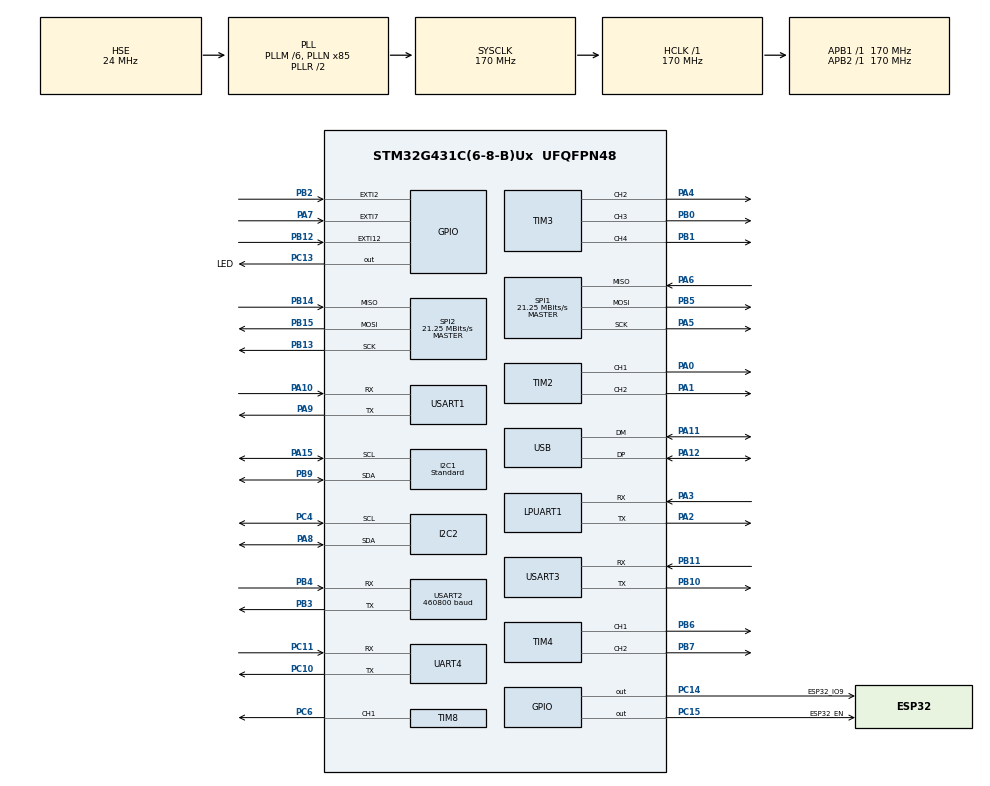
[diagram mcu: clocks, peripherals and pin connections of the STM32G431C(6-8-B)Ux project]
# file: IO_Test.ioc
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I2C1.I2C_Speed_Mode=I2C_Standard
I2C1.Timing=0x40B285C2
I2C2.Timing=0x40B285C2
Mcu.Family=STM32G4
Mcu.Name=STM32G431C(6-8-B)Ux
Mcu.Package=UFQFPN48
NVIC.PriorityGroup=NVIC_PRIORITYGROUP_4
NVIC.UART4_IRQn=true\:0\:0\:false\:false\:true\:true\:true\:true
NVIC.USART2_IRQn=true\:0\:0\:false\:false\:true\:true\:true\:true
NVIC.USART3_IRQn=true\:0\:0\:false\:false\:true\:true\:true\:true
NVIC.USB_LP_IRQn=true\:0\:0\:false\:false\:true\:false\:true\:true
PA0.Signal=S_TIM2_CH1
PA1.Signal=S_TIM2_CH2
PA10.Mode=Asynchronous
PA10.Signal=USART1_RX
PA11.Mode=Device
PA11.Signal=USB_DM
PA12.Mode=Device
PA12.Signal=USB_DP
PA13.Mode=Serial_Wire
PA13.Signal=SYS_JTMS-SWDIO
PA14.Mode=Serial_Wire
PA14.Signal=SYS_JTCK-SWCLK
PA15.Mode=I2C
PA15.Signal=I2C1_SCL
PA2.Mode=Asynchronous
PA2.Signal=LPUART1_TX
PA3.Mode=Asynchronous
PA3.Signal=LPUART1_RX
PA4.Signal=S_TIM3_CH2
PA5.Mode=Full_Duplex_Master
PA5.Signal=SPI1_SCK
PA6.Mode=Full_Duplex_Master
PA6.Signal=SPI1_MISO
PA7.Signal=GPXTI7
PA8.Mode=I2C
PA8.Signal=I2C2_SDA
PA9.Mode=Asynchronous
PA9.Signal=USART1_TX
PB0.Signal=S_TIM3_CH3
PB1.Signal=S_TIM3_CH4
PB10.Mode=Asynchronous
PB10.Signal=USART3_TX
PB11.Mode=Asynchronous
PB11.Signal=USART3_RX
PB12.Signal=GPXTI12
PB13.Mode=Full_Duplex_Master
PB13.Signal=SPI2_SCK
PB14.Mode=Full_Duplex_Master
PB14.Signal=SPI2_MISO
PB15.Mode=Full_Duplex_Master
PB15.Signal=SPI2_MOSI
PB2.Signal=GPXTI2
PB3.Mode=Asynchronous
PB3.Signal=USART2_TX
PB4.Mode=Asynchronous
PB4.Signal=USART2_RX
PB5.Mode=Full_Duplex_Master
PB5.Signal=SPI1_MOSI
PB6.Signal=S_TIM4_CH1
PB7.Signal=S_TIM4_CH2
PB9.Mode=I2C
PB9.Signal=I2C1_SDA
PC10.Mode=Asynchronous
PC10.Signal=UART4_TX
PC11.Mode=Asynchronous
PC11.Signal=UART4_RX
PC13.GPIO_Label=LED
PC13.Signal=GPIO_Output
PC14-OSC32_IN.GPIO_Label=ESP32_IO9
PC14-OSC32_IN.Signal=GPIO_Output
PC15-OSC32_OUT.GPIO_Label=ESP32_EN
PC15-OSC32_OUT.Signal=GPIO_Output
PC4.Mode=I2C
PC4.Signal=I2C2_SCL
PC6.Signal=S_TIM8_CH1
PF0-OSC_IN.Mode=HSE-External-Oscillator
PF0-OSC_IN.Signal=RCC_OSC_IN
PF1-OSC_OUT.Mode=HSE-External-Oscillator
PF1-OSC_OUT.Signal=RCC_OSC_OUT
ProjectManager.HeapSize=0x200
ProjectManager.StackSize=0x400
ProjectManager.TargetToolchain=MDK-ARM V5.32
RCC.ADC12Freq_Value=170000000
RCC.AHBFreq_Value=170000000
RCC.APB1Freq_Value=170000000
RCC.APB1TimFreq_Value=170000000
RCC.APB2Freq_Value=170000000
RCC.APB2TimFreq_Value=170000000
RCC.CK48CLockSelection=RCC_USBCLKSOURCE_HSI48
RCC.CortexFreq_Value=170000000
RCC.EXTERNAL_CLOCK_VALUE=12288000
RCC.HCLKFreq_Value=170000000
RCC.HSE_VALUE=24000000
RCC.HSI48_VALUE=48000000
RCC.HSI_VALUE=16000000
RCC.LSE_VALUE=32768
RCC.PLLM=RCC_PLLM_DIV6
RCC.PLLN=85
RCC.PLLSourceVirtual=RCC_PLLSOURCE_HSE
RCC.SYSCLKFreq_VALUE=170000000
RCC.SYSCLKSource=RCC_SYSCLKSOURCE_PLLCLK
RCC.USBFreq_Value=48000000
RCC.VCOOutputFreq_Value=340000000
RTC.Date=28
RTC.Hours=23
RTC.Minutes=59
RTC.Month=RTC_MONTH_FEBRUARY
RTC.Seconds=51
RTC.WeekDay=RTC_WEEKDAY_FRIDAY
RTC.Year=25
SH.S_TIM2_CH1.0=TIM2_CH1,PWM Generation1 CH1
SH.S_TIM2_CH2.0=TIM2_CH2,PWM Generation2 CH2
SH.S_TIM3_CH2.0=TIM3_CH2,PWM Generation2 CH2
SH.S_TIM3_CH3.0=TIM3_CH3,PWM Generation3 CH3
SH.S_TIM3_CH4.0=TIM3_CH4,PWM Generation4 CH4
SH.S_TIM4_CH1.0=TIM4_CH1,PWM Generation1 CH1
SH.S_TIM4_CH2.0=TIM4_CH2,PWM Generation2 CH2
SH.S_TIM8_CH1.0=TIM8_CH1,PWM Generation1 CH1
SPI1.BaudRatePrescaler=SPI_BAUDRATEPRESCALER_8
SPI1.CalculateBaudRate=21.25 MBits/s
SPI1.Direction=SPI_DIRECTION_2LINES
SPI1.Mode=SPI_MODE_MASTER
SPI1.VirtualType=VM_MASTER
SPI2.BaudRatePrescaler=SPI_BAUDRATEPRESCALER_8
SPI2.CalculateBaudRate=21.25 MBits/s
SPI2.Direction=SPI_DIRECTION_2LINES
SPI2.Mode=SPI_MODE_MASTER
SPI2.VirtualType=VM_MASTER
TIM2.Channel-PWM\ Generation1\ CH1=TIM_CHANNEL_1
TIM2.Channel-PWM\ Generation2\ CH2=TIM_CHANNEL_2
TIM3.Channel-PWM\ Generation2\ CH2=TIM_CHANNEL_2
TIM3.Channel-PWM\ Generation3\ CH3=TIM_CHANNEL_3
TIM3.Channel-PWM\ Generation4\ CH4=TIM_CHANNEL_4
TIM4.Channel-PWM\ Generation1\ CH1=TIM_CHANNEL_1
TIM4.Channel-PWM\ Generation2\ CH2=TIM_CHANNEL_2
TIM8.Channel-PWM\ Generation1\ CH1=TIM_CHANNEL_1
USART1.VirtualMode-Asynchronous=VM_ASYNC
USART2.BaudRate=460800
USART2.VirtualMode-Asynchronous=VM_ASYNC
USART3.VirtualMode-Asynchronous=VM_ASYNC
USB_DEVICE.CLASS_NAME_FS=CDC
USB_DEVICE.VirtualMode=Cdc
USB_DEVICE.VirtualModeFS=Cdc_FS
VP_RTC_VS_RTC_Activate.Mode=RTC_Enabled
VP_RTC_VS_RTC_Calendar.Mode=RTC_Calendar
VP_SYS_VS_DBSignals.Mode=DisableDeadBatterySignals
VP_USB_DEVICE_VS_USB_DEVICE_CDC_FS.Mode=CDC_FS
board=custom

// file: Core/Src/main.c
/* USER CODE BEGIN Header */
/**
  ******************************************************************************
  * @file           : main.c
  * @brief          : Main program body
  ******************************************************************************
  * @attention
  *
  * Copyright (c) 2025 STMicroelectronics.
  * All rights reserved.
  *
  * This software is licensed under terms that can be found in the LICENSE file
  * in the root directory of this software component.
  * If no LICENSE file comes with this software, it is provided AS-IS.
  *
  ******************************************************************************
  */
/* USER CODE END Header */
#include "main.h"
#include "i2c.h"
#include "usart.h"
#include "rtc.h"
#include "spi.h"
#include "tim.h"
#include "usb_device.h"
#include "gpio.h"

/* USER CODE BEGIN Includes */
#include "POM_ESP32_C3.h"
#include "usbd_cdc_if.h"
/* USER CODE END Includes */

/* USER CODE BEGIN PD */
#define USE_DEBUG
#define USE_INFO
#define USE_PRINT

#if defined(USE_DEBUG) || defined(USE_INFO) || defined(USE_PRINT)
uint8_t printfBuf[100];
#endif
#ifdef USE_DEBUG
#define LOG_DEBUG(format, ...) CDC_Transmit_FS((uint8_t *)printfBuf, sprintf((char*)printfBuf, "[DEBUG] %s:%d %s(): " format "\n", __FILE__, __LINE__, __func__, ##__VA_ARGS__))
#else
#define LOG_DEBUG(format, ...)
#endif
#ifdef USE_INFO
#define LOG_INFO(format, ...) CDC_Transmit_FS((uint8_t *)printfBuf, sprintf((char*)printfBuf, "[INFO] %d %s(): " format "\n", __LINE__, __func__, ##__VA_ARGS__))
#else
#define LOG_INFO(format, ...)
#endif
#ifdef USE_PRINT
#define LOG_PRINT(format, ...) CDC_Transmit_FS((uint8_t *)printfBuf, sprintf((char*)printfBuf, "[PRINT] %s(): " format "\n", __func__, ##__VA_ARGS__))
#else
#define LOG_PRINT(format, ...)
#endif
/* USER CODE END PD */

void SystemClock_Config(void);

int main(void)
{

  /* MCU Configuration--------------------------------------------------------*/

  /* Reset of all peripherals, Initializes the Flash interface and the Systick. */
  HAL_Init();

  /* Configure the system clock */
  SystemClock_Config();

  /* Initialize all configured peripherals */
  MX_GPIO_Init();
  MX_USB_Device_Init();
  MX_USART2_UART_Init();
  MX_USART3_UART_Init();
  MX_UART4_Init();
  MX_I2C1_Init();
  MX_LPUART1_UART_Init();
  MX_USART1_UART_Init();
  MX_I2C2_Init();
  MX_SPI1_Init();
  MX_SPI2_Init();
  MX_TIM2_Init();
  MX_TIM3_Init();
  MX_TIM4_Init();
  MX_TIM8_Init();
  MX_RTC_Init();
  /* USER CODE BEGIN 2 */
  Disable_ESP32_C3();
  HAL_Delay(1000);
  LOG_INFO("Disable_ESP32_C3:OK");
  RTC_TimeTypeDef sTime = {0};
  RTC_DateTypeDef sDate = {0};
  /* USER CODE END 2 */

  /* Infinite loop */
  /* USER CODE BEGIN WHILE */
  while (1)
  {
    HAL_RTC_GetTime(&hrtc,&sTime,RTC_FORMAT_BIN);
    HAL_RTC_GetDate(&hrtc,&sDate,RTC_FORMAT_BIN);
    LOG_PRINT("\nRTC_Date = %04d-%02d-%02d\nRTC_Time = %02d-%02d-%02d",\
      2000+sDate.Year,sDate.Month,sDate.Date,\
      sTime.Hours,sTime.Minutes,sTime.Seconds);
    HAL_Delay(333);
    /* USER CODE END WHILE */

  }
}

void SystemClock_Config(void)
{
  RCC_OscInitTypeDef RCC_OscInitStruct = {0};
  RCC_ClkInitTypeDef RCC_ClkInitStruct = {0};

  /** Configure the main internal regulator output voltage
  */
  HAL_PWREx_ControlVoltageScaling(PWR_REGULATOR_VOLTAGE_SCALE1_BOOST);

  /** Initializes the RCC Oscillators according to the specified parameters
  * in the RCC_OscInitTypeDef structure.
  */
  RCC_OscInitStruct.OscillatorType = RCC_OSCILLATORTYPE_HSI48|RCC_OSCILLATORTYPE_LSI
                              |RCC_OSCILLATORTYPE_HSE;
  RCC_OscInitStruct.HSEState = RCC_HSE_ON;
  RCC_OscInitStruct.LSIState = RCC_LSI_ON;
  RCC_OscInitStruct.HSI48State = RCC_HSI48_ON;
  RCC_OscInitStruct.PLL.PLLState = RCC_PLL_ON;
  RCC_OscInitStruct.PLL.PLLSource = RCC_PLLSOURCE_HSE;
  RCC_OscInitStruct.PLL.PLLM = RCC_PLLM_DIV6;
  RCC_OscInitStruct.PLL.PLLN = 85;
  RCC_OscInitStruct.PLL.PLLP = RCC_PLLP_DIV2;
  RCC_OscInitStruct.PLL.PLLQ = RCC_PLLQ_DIV2;
  RCC_OscInitStruct.PLL.PLLR = RCC_PLLR_DIV2;
  if (HAL_RCC_OscConfig(&RCC_OscInitStruct) != HAL_OK)
  {
    Error_Handler();
  }

  /** Initializes the CPU, AHB and APB buses clocks
  */
  RCC_ClkInitStruct.ClockType = RCC_CLOCKTYPE_HCLK|RCC_CLOCKTYPE_SYSCLK
                              |RCC_CLOCKTYPE_PCLK1|RCC_CLOCKTYPE_PCLK2;
  RCC_ClkInitStruct.SYSCLKSource = RCC_SYSCLKSOURCE_PLLCLK;
  RCC_ClkInitStruct.AHBCLKDivider = RCC_SYSCLK_DIV1;
  RCC_ClkInitStruct.APB1CLKDivider = RCC_HCLK_DIV1;
  RCC_ClkInitStruct.APB2CLKDivider = RCC_HCLK_DIV1;

  if (HAL_RCC_ClockConfig(&RCC_ClkInitStruct, FLASH_LATENCY_4) != HAL_OK)
  {
    Error_Handler();
  }
}

void Error_Handler(void)
{
  __disable_irq();
  while (1)
  {
  }
}
